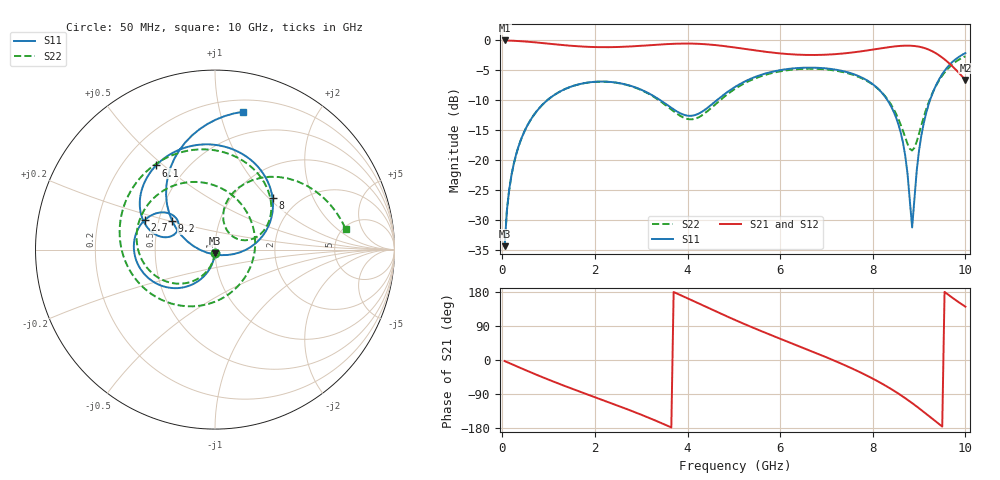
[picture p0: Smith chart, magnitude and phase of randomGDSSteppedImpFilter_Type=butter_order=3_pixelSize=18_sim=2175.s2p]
! freq	dB(S11)	phase(S11)	dB(S12)	phase(S12)
!  dB(S21)	phase(S21)	dB(S22)	phase(S22)
!S-par simulation data
#  GHz  S  DB  R 50
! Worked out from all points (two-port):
!   200 points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, 50 MHz to 10 GHz, reference 50 ohm
!   highest |S21| = 0.00 dB at 50 MHz (marker M1); lowest = -6.6 dB at 10 GHz (marker M2)
!   |S21| within 3 dB of the highest: start of sweep to 9.523 GHz
!   lowest |S11| = -34.4 dB at 50 MHz (marker M3), VSWR 1.04, Z = 49.9 - j1.9 ohm
!   |S11| at or under -10 dB: start of sweep to 972.2 MHz; 3.411 GHz to 4.634 GHz (1.223 GHz wide, 30.4 % of centre); 8.317 GHz to 9.237 GHz (920 MHz wide, 10.5 % of centre)
!   |S22| runs from -34.4 to -2.6 dB; largest |S21 - S12| = 0
!   S11 on the Smith chart (normalised r, x): 50 MHz: 1.00, -0.04; 2.7 GHz: 0.42, +0.17; 6.1 GHz: 0.34, +0.47; 8 GHz: 1.50, +1.06; 9.2 GHz: 0.59, +0.20; 10 GHz: 0.30, +1.18
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0.05  -34.42 -92.5  -0.00 -2.7  -0.00 -2.7  -34.42 -92.9
0.1  -28.42 -95.3  -0.01 -5.4  -0.01 -5.4  -28.42 -96.0
0.2  -22.47 -100.5  -0.04 -10.8  -0.04 -10.8  -22.47 -102.0
0.5  -14.86 -115.4  -0.18 -26.7  -0.18 -26.7  -14.87 -119.1
1.1  -9.24 -142.9  -0.62 -56.8  -0.62 -56.8  -9.24 -151.7
1.75  -7.17 -169.5  -1.03 -86.9  -1.03 -86.9  -7.18 174.6
2.7  -7.44 157.2  -1.03 -130.0  -1.03 -130.0  -7.47 122.2
3.4  -9.94 141.3  -0.69 -164.6  -0.69 -164.6  -10.10 70.0
4.15  -12.51 157.0  -0.54 154.3  -0.54 154.3  -13.13 -28.7
5.05  -7.66 160.0  -1.21 104.3  -1.21 104.3  -7.98 -133.4
5.6  -5.72 143.1  -1.82 75.9  -1.82 75.9  -5.95 -172.6
6.1  -4.85 125.0  -2.24 51.2  -2.24 51.2  -5.05 156.9
6.7  -4.55 101.8  -2.44 22.1  -2.44 22.1  -4.74 122.6
7.35  -5.12 74.3  -2.19 -11.2  -2.19 -11.2  -5.28 84.7
8  -7.32 41.9  -1.53 -49.1  -1.53 -49.1  -7.39 44.3
8.35  -10.40 20.0  -1.12 -73.1  -1.12 -73.1  -10.19 23.4
8.65  -17.01 -6.0  -0.89 -96.5  -0.89 -96.5  -15.09 17.1
8.85  -31.28 -100.5  -0.90 -113.7  -0.90 -113.7  -18.42 46.7
9  -18.34 170.8  -1.05 -127.5  -1.05 -127.5  -15.56 73.6
9.2  -10.88 146.4  -1.51 -146.6  -1.51 -146.6  -10.51 74.8
9.6  -4.59 109.6  -3.49 175.0  -3.49 175.0  -4.91 44.2
10  -2.12 78.7  -6.62 140.7  -6.62 140.7  -2.65 9.0
